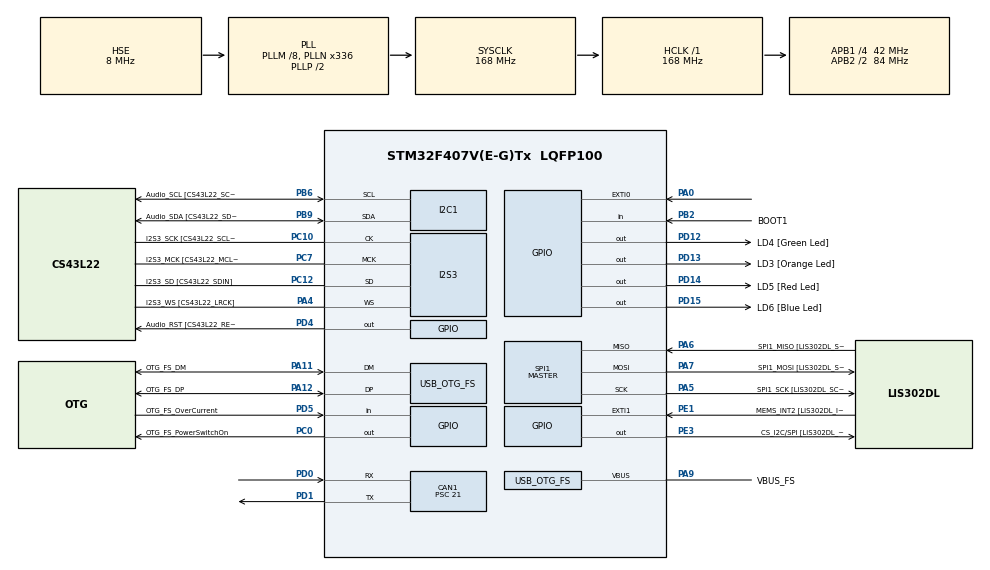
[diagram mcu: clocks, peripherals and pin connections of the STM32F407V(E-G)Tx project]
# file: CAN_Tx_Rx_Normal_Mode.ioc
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CAN1.BS2=CAN_BS2_2TQ
CAN1.CalculateBaudRate=500000
CAN1.CalculateTimeBit=2000
CAN1.CalculateTimeQuantum=500.0
CAN1.Prescaler=21
I2S3.AudioFreq-Half_Duplex_Master=I2S_AUDIOFREQ_96K
I2S3.ErrorAudioFreq=-2.34 %
I2S3.ErrorAudioFreq-Half_Duplex_Master=0.8 %
I2S3.FullDuplexMode=I2S_FULLDUPLEXMODE_DISABLE
I2S3.Instance=SPI$Index
I2S3.RealAudioFreq=93.75 KHz
I2S3.RealAudioFreq-Half_Duplex_Master=96.774 KHz
I2S3.VirtualMode=I2S_MODE_MASTER
Mcu.Family=STM32F4
Mcu.Name=STM32F407V(E-G)Tx
Mcu.Package=LQFP100
NVIC.CAN1_RX0_IRQn=true\:0\:0\:false\:false\:true\:true\:true\:true
NVIC.EXTI0_IRQn=true\:0\:0\:false\:false\:true\:true\:true\:true
NVIC.OTG_FS_IRQn=true\:0\:0\:false\:false\:true\:true\:true\:true
NVIC.PriorityGroup=NVIC_PRIORITYGROUP_0
PA0-WKUP.Signal=GPXTI0
PA10.GPIO_Label=OTG_FS_ID
PA10.GPIO_Mode=GPIO_MODE_AF_PP
PA10.GPIO_PuPd=GPIO_NOPULL
PA10.GPIO_Speed=GPIO_SPEED_FREQ_LOW
PA10.Signal=USB_OTG_FS_ID
PA11.GPIO_Label=OTG_FS_DM
PA11.GPIO_Mode=GPIO_MODE_AF_PP
PA11.GPIO_PuPd=GPIO_NOPULL
PA11.GPIO_Speed=GPIO_SPEED_FREQ_LOW
PA11.Mode=Host_Only
PA11.Signal=USB_OTG_FS_DM
PA12.GPIO_Label=OTG_FS_DP
PA12.GPIO_Mode=GPIO_MODE_AF_PP
PA12.GPIO_PuPd=GPIO_NOPULL
PA12.GPIO_Speed=GPIO_SPEED_FREQ_LOW
PA12.Mode=Host_Only
PA12.Signal=USB_OTG_FS_DP
PA13.GPIO_Label=SWDIO
PA13.Mode=Serial_Wire
PA13.Signal=SYS_JTMS-SWDIO
PA14.GPIO_Label=SWCLK
PA14.Mode=Serial_Wire
PA14.Signal=SYS_JTCK-SWCLK
PA4.GPIO_Label=I2S3_WS [CS43L22_LRCK]
PA4.GPIO_Mode=GPIO_MODE_AF_PP
PA4.GPIO_PuPd=GPIO_NOPULL
PA4.GPIO_Speed=GPIO_SPEED_FREQ_LOW
PA4.Mode=Half_Duplex_Master
PA4.Signal=I2S3_WS
PA5.GPIO_Label=SPI1_SCK [LIS302DL_SCL/SPC]
PA5.GPIO_Mode=GPIO_MODE_AF_PP
PA5.GPIO_PuPd=GPIO_NOPULL
PA5.GPIO_Speed=GPIO_SPEED_FREQ_LOW
PA5.Mode=Full_Duplex_Master
PA5.Signal=SPI1_SCK
PA6.GPIO_Label=SPI1_MISO [LIS302DL_SDO]
PA6.GPIO_Mode=GPIO_MODE_AF_PP
PA6.GPIO_PuPd=GPIO_NOPULL
PA6.GPIO_Speed=GPIO_SPEED_FREQ_LOW
PA6.Mode=Full_Duplex_Master
PA6.Signal=SPI1_MISO
PA7.GPIO_Label=SPI1_MOSI [LIS302DL_SDA/SDI/SDO]
PA7.GPIO_Mode=GPIO_MODE_AF_PP
PA7.GPIO_PuPd=GPIO_NOPULL
PA7.GPIO_Speed=GPIO_SPEED_FREQ_LOW
PA7.Mode=Full_Duplex_Master
PA7.Signal=SPI1_MOSI
PA9.GPIO_Label=VBUS_FS
PA9.GPIO_Mode=GPIO_MODE_INPUT
PA9.GPIO_PuPd=GPIO_NOPULL
PA9.Mode=Activate_VBUS
PA9.Signal=USB_OTG_FS_VBUS
PB10.GPIO_Label=CLK_IN [MP45DT02_CLK]
PB10.GPIO_Mode=GPIO_MODE_AF_PP
PB10.GPIO_PuPd=GPIO_NOPULL
PB10.GPIO_Speed=GPIO_SPEED_FREQ_LOW
PB10.Signal=I2S2_CK
PB2.GPIO_Label=BOOT1
PB2.GPIO_Mode=GPIO_MODE_INPUT
PB2.GPIO_PuPd=GPIO_NOPULL
PB2.Signal=GPIO_Input
PB3.GPIO_Label=SWO
PB3.Signal=SYS_JTDO-SWO
PB6.GPIO_Label=Audio_SCL [CS43L22_SCL]
PB6.GPIO_Mode=GPIO_MODE_AF_OD
PB6.GPIO_Pu=GPIO_PULLUP
PB6.GPIO_PuPd=GPIO_NOPULL
PB6.GPIO_Speed=GPIO_SPEED_FREQ_LOW
PB6.Mode=I2C
PB6.Signal=I2C1_SCL
PB9.GPIO_Label=Audio_SDA [CS43L22_SDA]
PB9.GPIO_Mode=GPIO_MODE_AF_OD
PB9.GPIO_Pu=GPIO_PULLUP
PB9.GPIO_PuPd=GPIO_NOPULL
PB9.GPIO_Speed=GPIO_SPEED_FREQ_LOW
PB9.Mode=I2C
PB9.Signal=I2C1_SDA
PC0.GPIO_Label=OTG_FS_PowerSwitchOn
PC0.GPIO_PuPd=GPIO_NOPULL
PC0.GPIO_Speed=GPIO_SPEED_FREQ_LOW
PC0.PinState=GPIO_PIN_SET
PC0.Signal=GPIO_Output
PC10.GPIO_Label=I2S3_SCK [CS43L22_SCLK]
PC10.GPIO_Mode=GPIO_MODE_AF_PP
PC10.GPIO_PuPd=GPIO_NOPULL
PC10.GPIO_Speed=GPIO_SPEED_FREQ_LOW
PC10.Mode=Half_Duplex_Master
PC10.Signal=I2S3_CK
PC12.GPIO_Label=I2S3_SD [CS43L22_SDIN]
PC12.GPIO_Mode=GPIO_MODE_AF_PP
PC12.GPIO_PuPd=GPIO_NOPULL
PC12.GPIO_Speed=GPIO_SPEED_FREQ_LOW
PC12.Mode=Half_Duplex_Master
PC12.Signal=I2S3_SD
PC14-OSC32_IN.GPIO_Label=PC14-OSC32_IN
PC14-OSC32_IN.Mode=LSE-External-Oscillator
PC14-OSC32_IN.Signal=RCC_OSC32_IN
PC15-OSC32_OUT.GPIO_Label=PC15-OSC32_OUT
PC15-OSC32_OUT.Mode=LSE-External-Oscillator
PC15-OSC32_OUT.Signal=RCC_OSC32_OUT
PC3.GPIO_Label=PDM_OUT [MP45DT02_DOUT]
PC3.GPIO_Mode=GPIO_MODE_AF_PP
PC3.GPIO_PuPd=GPIO_NOPULL
PC3.GPIO_Speed=GPIO_SPEED_FREQ_LOW
PC3.Signal=I2S2_SD
PC7.GPIO_Label=I2S3_MCK [CS43L22_MCLK]
PC7.GPIO_Mode=GPIO_MODE_AF_PP
PC7.GPIO_PuPd=GPIO_NOPULL
PC7.GPIO_Speed=GPIO_SPEED_FREQ_LOW
PC7.Mode=Master_Clock_Activated
PC7.Signal=I2S3_MCK
PD0.Mode=CAN_Activate
PD0.Signal=CAN1_RX
PD1.Mode=CAN_Activate
PD1.Signal=CAN1_TX
PD12.GPIO_Label=LD4 [Green Led]
PD12.GPIO_PuPd=GPIO_NOPULL
PD12.GPIO_Speed=GPIO_SPEED_FREQ_LOW
PD12.Signal=GPIO_Output
PD13.GPIO_Label=LD3 [Orange Led]
PD13.GPIO_PuPd=GPIO_NOPULL
PD13.GPIO_Speed=GPIO_SPEED_FREQ_LOW
PD13.Signal=GPIO_Output
PD14.GPIO_Label=LD5 [Red Led]
PD14.GPIO_PuPd=GPIO_NOPULL
PD14.GPIO_Speed=GPIO_SPEED_FREQ_LOW
PD14.Signal=GPIO_Output
PD15.GPIO_Label=LD6 [Blue Led]
PD15.GPIO_PuPd=GPIO_NOPULL
PD15.GPIO_Speed=GPIO_SPEED_FREQ_LOW
PD15.Signal=GPIO_Output
PD4.GPIO_Label=Audio_RST [CS43L22_RESET]
PD4.GPIO_PuPd=GPIO_NOPULL
PD4.GPIO_Speed=GPIO_SPEED_FREQ_LOW
PD4.Signal=GPIO_Output
PD5.GPIO_Label=OTG_FS_OverCurrent
PD5.GPIO_Mode=GPIO_MODE_INPUT
PD5.GPIO_PuPd=GPIO_NOPULL
PD5.Signal=GPIO_Input
PE1.GPIO_Label=MEMS_INT2 [LIS302DL_INT2]
PE1.GPIO_ModeDefaultEXTI=GPIO_MODE_EVT_RISING
PE1.GPIO_PuPd=GPIO_NOPULL
PE1.Signal=GPXTI1
PE3.GPIO_Label=CS_I2C/SPI [LIS302DL_CS_I2C/SPI]
PE3.GPIO_PuPd=GPIO_NOPULL
PE3.GPIO_Speed=GPIO_SPEED_FREQ_LOW
PE3.Signal=GPIO_Output
PH0-OSC_IN.GPIO_Label=PH0-OSC_IN
PH0-OSC_IN.Mode=HSE-External-Oscillator
PH0-OSC_IN.Signal=RCC_OSC_IN
PH1-OSC_OUT.GPIO_Label=PH1-OSC_OUT
PH1-OSC_OUT.Mode=HSE-External-Oscillator
PH1-OSC_OUT.Signal=RCC_OSC_OUT
ProjectManager.HeapSize=0x200
ProjectManager.StackSize=0x400
ProjectManager.TargetToolchain=STM32CubeIDE
RCC.48MHZClocksFreq_Value=48000000
RCC.AHBFreq_Value=168000000
RCC.APB1CLKDivider=RCC_HCLK_DIV4
RCC.APB1Freq_Value=42000000
RCC.APB1TimFreq_Value=84000000
RCC.APB2CLKDivider=RCC_HCLK_DIV2
RCC.APB2Freq_Value=84000000
RCC.APB2TimFreq_Value=168000000
RCC.CortexFreq_Value=168000000
RCC.HCLKFreq_Value=168000000
RCC.HSE_VALUE=8000000
RCC.HSI_VALUE=16000000
RCC.PLLM=8
RCC.PLLN=336
RCC.PLLQ=7
RCC.SYSCLKFreq_VALUE=168000000
RCC.SYSCLKSource=RCC_SYSCLKSOURCE_PLLCLK
RCC.VCOOutputFreq_Value=336000000
SPI1.BaudRatePrescaler-Full_Duplex_Master=SPI_BAUDRATEPRESCALER_2
SPI1.CalculateBaudRate-Full_Duplex_Master=42.0 MBits/s
SPI1.Direction=SPI_DIRECTION_2LINES
SPI1.Mode=SPI_MODE_MASTER
SPI1.Mode-Full_Duplex_Master=SPI_MODE_MASTER
SPI1.VirtualType=VM_MASTER
USB_HOST.BSP.number=1
USB_HOST.USBH_HandleTypeDef-CDC_FS=hUsbHostFS
USB_HOST.VirtualModeFS=Cdc
USB_HOST0.BSP.STBoard=false
USB_HOST0.BSP.api=Unknown
USB_HOST0.BSP.instance=PC0
USB_HOST0.BSP.ip=GPIO
USB_HOST0.BSP.mode=Output
USB_HOST0.BSP.name=Drive_VBUS_FS
USB_HOST0.BSP.solution=PC0
USB_OTG_FS.VirtualMode=Host_Only
USB_OTG_FS.phy_itface=HCD_PHY_EMBEDDED
VP_USB_HOST_VS_USB_HOST_CDC_FS.Mode=CDC_FS
board=STM32F407G-DISC1

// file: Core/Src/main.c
/* USER CODE BEGIN Header */
/**
  ******************************************************************************
  * @file           : main.c
  * @brief          : Main program body
  ******************************************************************************
  * @attention
  *
  * Copyright (c) 2025 STMicroelectronics.
  * All rights reserved.
  *
  * This software is licensed under terms that can be found in the LICENSE file
  * in the root directory of this software component.
  * If no LICENSE file comes with this software, it is provided AS-IS.
  *
  ******************************************************************************
  */
/* USER CODE END Header */
#include "main.h"
#include "usb_host.h"

CAN_HandleTypeDef hcan1;

I2C_HandleTypeDef hi2c1;

I2S_HandleTypeDef hi2s3;

SPI_HandleTypeDef hspi1;

void SystemClock_Config(void);
static void MX_GPIO_Init(void);
static void MX_I2C1_Init(void);
static void MX_I2S3_Init(void);
static void MX_SPI1_Init(void);
static void MX_CAN1_Init(void);
void MX_USB_HOST_Process(void);

/* USER CODE BEGIN 0 */

CAN_TxHeaderTypeDef TxHeader;
CAN_RxHeaderTypeDef RxHeader;

uint8_t TxData[8];
uint8_t RxData[8];

uint32_t TxMailbox;
int datacheck=0;

void HAL_GPIO_EXTI_Callback(uint16_t GPIO_Pin)
{
	if (GPIO_Pin==GPIO_PIN_0)
	{
		TxData[0]=100;
		TxData[1]=10;

		HAL_CAN_AddTxMessage(&hcan1, &TxHeader, TxData, &TxMailbox);
	}
}

void HAL_CAN_RxFifo0FullCallback(CAN_HandleTypeDef *hcan)
{
	HAL_CAN_GetRxMessage(hcan, CAN_RX_FIFO0, &RxHeader, RxData);
	if(RxHeader.DLC==2)
	{
		datacheck=1;
	}
}

/* USER CODE END 0 */

int main(void)
{

  /* MCU Configuration--------------------------------------------------------*/

  /* Reset of all peripherals, Initializes the Flash interface and the Systick. */
  HAL_Init();

  /* Configure the system clock */
  SystemClock_Config();

  /* Initialize all configured peripherals */
  MX_GPIO_Init();
  MX_I2C1_Init();
  MX_I2S3_Init();
  MX_SPI1_Init();
  MX_USB_HOST_Init();
  MX_CAN1_Init();
  /* USER CODE BEGIN 2 */

  HAL_CAN_Start(&hcan1); // Start CAN

  HAL_CAN_ActivateNotification(&hcan1, CAN_IT_RX_FIFO0_MSG_PENDING);

  TxHeader.DLC=2;  // Data lendgth
  TxHeader.IDE=CAN_ID_STD;
  TxHeader.RTR=CAN_RTR_DATA;
  TxHeader.StdId=0x446;  // ID of this controller

  /* USER CODE END 2 */

  /* Infinite loop */
  while (1)
  {
    MX_USB_HOST_Process();

    /* USER CODE BEGIN 3 */
    if(datacheck)
    {
    	for(int i=0; i<RxData[1]; i++)
    	{
    	HAL_GPIO_TogglePin(GPIOD, GPIO_PIN_13);
    	HAL_Delay(RxData[0]);
    	}
    	datacheck=0;

    }
  }
  /* USER CODE END 3 */
}

void SystemClock_Config(void)
{
  RCC_OscInitTypeDef RCC_OscInitStruct = {0};
  RCC_ClkInitTypeDef RCC_ClkInitStruct = {0};

  /** Configure the main internal regulator output voltage
  */
  __HAL_RCC_PWR_CLK_ENABLE();
  __HAL_PWR_VOLTAGESCALING_CONFIG(PWR_REGULATOR_VOLTAGE_SCALE1);

  /** Initializes the RCC Oscillators according to the specified parameters
  * in the RCC_OscInitTypeDef structure.
  */
  RCC_OscInitStruct.OscillatorType = RCC_OSCILLATORTYPE_HSE;
  RCC_OscInitStruct.HSEState = RCC_HSE_ON;
  RCC_OscInitStruct.PLL.PLLState = RCC_PLL_ON;
  RCC_OscInitStruct.PLL.PLLSource = RCC_PLLSOURCE_HSE;
  RCC_OscInitStruct.PLL.PLLM = 8;
  RCC_OscInitStruct.PLL.PLLN = 336;
  RCC_OscInitStruct.PLL.PLLP = RCC_PLLP_DIV2;
  RCC_OscInitStruct.PLL.PLLQ = 7;
  if (HAL_RCC_OscConfig(&RCC_OscInitStruct) != HAL_OK)
  {
    Error_Handler();
  }

  /** Initializes the CPU, AHB and APB buses clocks
  */
  RCC_ClkInitStruct.ClockType = RCC_CLOCKTYPE_HCLK|RCC_CLOCKTYPE_SYSCLK
                              |RCC_CLOCKTYPE_PCLK1|RCC_CLOCKTYPE_PCLK2;
  RCC_ClkInitStruct.SYSCLKSource = RCC_SYSCLKSOURCE_PLLCLK;
  RCC_ClkInitStruct.AHBCLKDivider = RCC_SYSCLK_DIV1;
  RCC_ClkInitStruct.APB1CLKDivider = RCC_HCLK_DIV4;
  RCC_ClkInitStruct.APB2CLKDivider = RCC_HCLK_DIV2;

  if (HAL_RCC_ClockConfig(&RCC_ClkInitStruct, FLASH_LATENCY_5) != HAL_OK)
  {
    Error_Handler();
  }
}

static void MX_CAN1_Init(void)
{

  hcan1.Instance = CAN1;
  hcan1.Init.Prescaler = 21;
  hcan1.Init.Mode = CAN_MODE_NORMAL;
  hcan1.Init.SyncJumpWidth = CAN_SJW_1TQ;
  hcan1.Init.TimeSeg1 = CAN_BS1_1TQ;
  hcan1.Init.TimeSeg2 = CAN_BS2_2TQ;
  hcan1.Init.TimeTriggeredMode = DISABLE;
  hcan1.Init.AutoBusOff = DISABLE;
  hcan1.Init.AutoWakeUp = DISABLE;
  hcan1.Init.AutoRetransmission = DISABLE;
  hcan1.Init.ReceiveFifoLocked = DISABLE;
  hcan1.Init.TransmitFifoPriority = DISABLE;
  if (HAL_CAN_Init(&hcan1) != HAL_OK)
  {
    Error_Handler();
  }
  /* USER CODE BEGIN CAN1_Init 2 */

  CAN_FilterTypeDef canfilterconfig;

  canfilterconfig.FilterActivation=CAN_FILTER_ENABLE;
  canfilterconfig.FilterBank=18;
  canfilterconfig.FilterFIFOAssignment=CAN_FILTER_FIFO0;
  canfilterconfig.FilterIdHigh=0x103<<5;
  canfilterconfig.FilterIdLow=0;
  canfilterconfig.FilterMaskIdHigh=0x103<<5;
  canfilterconfig.FilterMaskIdLow=0x0000;
  canfilterconfig.FilterMode=CAN_FILTERMODE_IDMASK;
  canfilterconfig.FilterScale=CAN_FILTERSCALE_32BIT;
  canfilterconfig.SlaveStartFilterBank=20;

  HAL_CAN_ConfigFilter(&hcan1, &canfilterconfig);

  /* USER CODE END CAN1_Init 2 */

}

static void MX_I2C1_Init(void)
{

  hi2c1.Instance = I2C1;
  hi2c1.Init.ClockSpeed = 100000;
  hi2c1.Init.DutyCycle = I2C_DUTYCYCLE_2;
  hi2c1.Init.OwnAddress1 = 0;
  hi2c1.Init.AddressingMode = I2C_ADDRESSINGMODE_7BIT;
  hi2c1.Init.DualAddressMode = I2C_DUALADDRESS_DISABLE;
  hi2c1.Init.OwnAddress2 = 0;
  hi2c1.Init.GeneralCallMode = I2C_GENERALCALL_DISABLE;
  hi2c1.Init.NoStretchMode = I2C_NOSTRETCH_DISABLE;
  if (HAL_I2C_Init(&hi2c1) != HAL_OK)
  {
    Error_Handler();
  }

}

static void MX_I2S3_Init(void)
{

  hi2s3.Instance = SPI3;
  hi2s3.Init.Mode = I2S_MODE_MASTER_TX;
  hi2s3.Init.Standard = I2S_STANDARD_PHILIPS;
  hi2s3.Init.DataFormat = I2S_DATAFORMAT_16B;
  hi2s3.Init.MCLKOutput = I2S_MCLKOUTPUT_ENABLE;
  hi2s3.Init.AudioFreq = I2S_AUDIOFREQ_96K;
  hi2s3.Init.CPOL = I2S_CPOL_LOW;
  hi2s3.Init.ClockSource = I2S_CLOCK_PLL;
  hi2s3.Init.FullDuplexMode = I2S_FULLDUPLEXMODE_DISABLE;
  if (HAL_I2S_Init(&hi2s3) != HAL_OK)
  {
    Error_Handler();
  }

}

static void MX_SPI1_Init(void)
{

  /* SPI1 parameter configuration*/
  hspi1.Instance = SPI1;
  hspi1.Init.Mode = SPI_MODE_MASTER;
  hspi1.Init.Direction = SPI_DIRECTION_2LINES;
  hspi1.Init.DataSize = SPI_DATASIZE_8BIT;
  hspi1.Init.CLKPolarity = SPI_POLARITY_LOW;
  hspi1.Init.CLKPhase = SPI_PHASE_1EDGE;
  hspi1.Init.NSS = SPI_NSS_SOFT;
  hspi1.Init.BaudRatePrescaler = SPI_BAUDRATEPRESCALER_2;
  hspi1.Init.FirstBit = SPI_FIRSTBIT_MSB;
  hspi1.Init.TIMode = SPI_TIMODE_DISABLE;
  hspi1.Init.CRCCalculation = SPI_CRCCALCULATION_DISABLE;
  hspi1.Init.CRCPolynomial = 10;
  if (HAL_SPI_Init(&hspi1) != HAL_OK)
  {
    Error_Handler();
  }

}

static void MX_GPIO_Init(void)
{
  GPIO_InitTypeDef GPIO_InitStruct = {0};

  /* GPIO Ports Clock Enable */
  __HAL_RCC_GPIOE_CLK_ENABLE();
  __HAL_RCC_GPIOC_CLK_ENABLE();
  __HAL_RCC_GPIOH_CLK_ENABLE();
  __HAL_RCC_GPIOA_CLK_ENABLE();
  __HAL_RCC_GPIOB_CLK_ENABLE();
  __HAL_RCC_GPIOD_CLK_ENABLE();

  /*Configure GPIO pin Output Level */
  HAL_GPIO_WritePin(CS_I2C_SPI_GPIO_Port, CS_I2C_SPI_Pin, GPIO_PIN_RESET);

  /*Configure GPIO pin Output Level */
  HAL_GPIO_WritePin(OTG_FS_PowerSwitchOn_GPIO_Port, OTG_FS_PowerSwitchOn_Pin, GPIO_PIN_SET);

  /*Configure GPIO pin Output Level */
  HAL_GPIO_WritePin(GPIOD, LD4_Pin|LD3_Pin|LD5_Pin|LD6_Pin
                          |Audio_RST_Pin, GPIO_PIN_RESET);

  /*Configure GPIO pin : CS_I2C_SPI_Pin */
  GPIO_InitStruct.Pin = CS_I2C_SPI_Pin;
  GPIO_InitStruct.Mode = GPIO_MODE_OUTPUT_PP;
  GPIO_InitStruct.Pull = GPIO_NOPULL;
  GPIO_InitStruct.Speed = GPIO_SPEED_FREQ_LOW;
  HAL_GPIO_Init(CS_I2C_SPI_GPIO_Port, &GPIO_InitStruct);

  /*Configure GPIO pin : OTG_FS_PowerSwitchOn_Pin */
  GPIO_InitStruct.Pin = OTG_FS_PowerSwitchOn_Pin;
  GPIO_InitStruct.Mode = GPIO_MODE_OUTPUT_PP;
  GPIO_InitStruct.Pull = GPIO_NOPULL;
  GPIO_InitStruct.Speed = GPIO_SPEED_FREQ_LOW;
  HAL_GPIO_Init(OTG_FS_PowerSwitchOn_GPIO_Port, &GPIO_InitStruct);

  /*Configure GPIO pin : PDM_OUT_Pin */
  GPIO_InitStruct.Pin = PDM_OUT_Pin;
  GPIO_InitStruct.Mode = GPIO_MODE_AF_PP;
  GPIO_InitStruct.Pull = GPIO_NOPULL;
  GPIO_InitStruct.Speed = GPIO_SPEED_FREQ_LOW;
  GPIO_InitStruct.Alternate = GPIO_AF5_SPI2;
  HAL_GPIO_Init(PDM_OUT_GPIO_Port, &GPIO_InitStruct);

  /*Configure GPIO pin : PA0 */
  GPIO_InitStruct.Pin = GPIO_PIN_0;
  GPIO_InitStruct.Mode = GPIO_MODE_IT_RISING;
  GPIO_InitStruct.Pull = GPIO_NOPULL;
  HAL_GPIO_Init(GPIOA, &GPIO_InitStruct);

  /*Configure GPIO pin : BOOT1_Pin */
  GPIO_InitStruct.Pin = BOOT1_Pin;
  GPIO_InitStruct.Mode = GPIO_MODE_INPUT;
  GPIO_InitStruct.Pull = GPIO_NOPULL;
  HAL_GPIO_Init(BOOT1_GPIO_Port, &GPIO_InitStruct);

  /*Configure GPIO pin : CLK_IN_Pin */
  GPIO_InitStruct.Pin = CLK_IN_Pin;
  GPIO_InitStruct.Mode = GPIO_MODE_AF_PP;
  GPIO_InitStruct.Pull = GPIO_NOPULL;
  GPIO_InitStruct.Speed = GPIO_SPEED_FREQ_LOW;
  GPIO_InitStruct.Alternate = GPIO_AF5_SPI2;
  HAL_GPIO_Init(CLK_IN_GPIO_Port, &GPIO_InitStruct);

  /*Configure GPIO pins : LD4_Pin LD3_Pin LD5_Pin LD6_Pin
                           Audio_RST_Pin */
  GPIO_InitStruct.Pin = LD4_Pin|LD3_Pin|LD5_Pin|LD6_Pin
                          |Audio_RST_Pin;
  GPIO_InitStruct.Mode = GPIO_MODE_OUTPUT_PP;
  GPIO_InitStruct.Pull = GPIO_NOPULL;
  GPIO_InitStruct.Speed = GPIO_SPEED_FREQ_LOW;
  HAL_GPIO_Init(GPIOD, &GPIO_InitStruct);

  /*Configure GPIO pin : OTG_FS_OverCurrent_Pin */
  GPIO_InitStruct.Pin = OTG_FS_OverCurrent_Pin;
  GPIO_InitStruct.Mode = GPIO_MODE_INPUT;
  GPIO_InitStruct.Pull = GPIO_NOPULL;
  HAL_GPIO_Init(OTG_FS_OverCurrent_GPIO_Port, &GPIO_InitStruct);

  /*Configure GPIO pin : MEMS_INT2_Pin */
  GPIO_InitStruct.Pin = MEMS_INT2_Pin;
  GPIO_InitStruct.Mode = GPIO_MODE_EVT_RISING;
  GPIO_InitStruct.Pull = GPIO_NOPULL;
  HAL_GPIO_Init(MEMS_INT2_GPIO_Port, &GPIO_InitStruct);

  /* EXTI interrupt init*/
  HAL_NVIC_SetPriority(EXTI0_IRQn, 0, 0);
  HAL_NVIC_EnableIRQ(EXTI0_IRQn);

}

void Error_Handler(void)
{
  __disable_irq();
  while (1)
  {
  }
}
